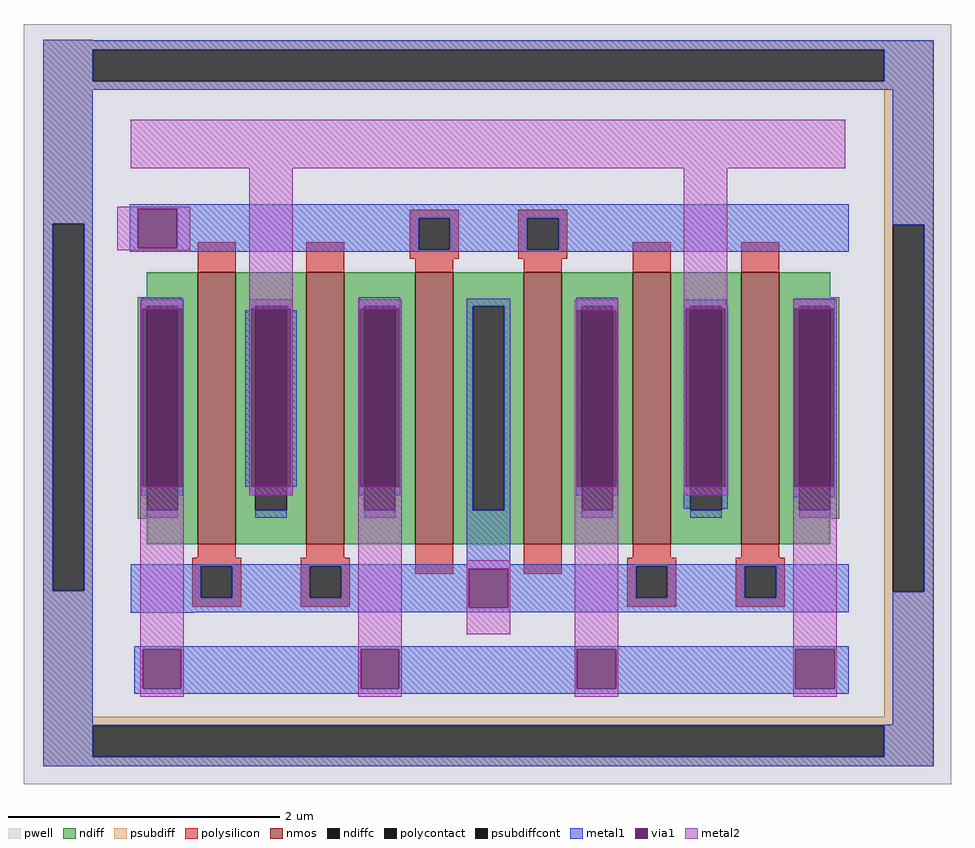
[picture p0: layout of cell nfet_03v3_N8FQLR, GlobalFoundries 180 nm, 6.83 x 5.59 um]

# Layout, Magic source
magic
tech gf180mcuD
magscale 1 10
<< pwell >>
rect -684 -553 681 565
<< nmos >>
rect -428 -200 -372 200
rect -268 -200 -212 200
rect -108 -200 -52 200
rect 52 -200 108 200
rect 212 -200 268 200
rect 372 -200 428 200
<< ndiff >>
rect -503 163 -428 200
rect -516 150 -428 163
rect -516 -150 -503 150
rect -457 -150 -428 150
rect -516 -163 -428 -150
rect -503 -200 -428 -163
rect -372 150 -268 200
rect -372 -150 -343 150
rect -297 -150 -268 150
rect -372 -200 -268 -150
rect -212 150 -108 200
rect -212 -150 -183 150
rect -137 -150 -108 150
rect -212 -200 -108 -150
rect -52 150 52 200
rect -52 -150 -23 150
rect 23 -150 52 150
rect -52 -200 52 -150
rect 108 150 212 200
rect 108 -150 137 150
rect 183 -150 212 150
rect 108 -200 212 -150
rect 268 150 372 200
rect 268 -150 297 150
rect 343 -150 372 150
rect 268 -200 372 -150
rect 428 163 503 200
rect 428 150 516 163
rect 428 -150 457 150
rect 503 -150 516 150
rect 428 -163 516 -150
rect 428 -200 503 -163
<< ndiffc >>
rect -503 -150 -457 150
rect -343 -150 -297 150
rect -183 -150 -137 150
rect -23 -150 23 150
rect 137 -150 183 150
rect 297 -150 343 150
rect 457 -150 503 150
<< psubdiff >>
rect -655 540 -582 542
rect -655 527 654 540
rect -655 481 -582 527
rect 582 481 654 527
rect -655 468 654 481
rect -655 271 -582 468
rect 582 461 654 468
rect 582 318 655 461
rect -655 -269 -641 271
rect -595 -269 -582 271
rect 582 270 654 318
rect -655 -454 -582 -269
rect 582 -270 595 270
rect 641 -270 654 270
rect 582 -454 654 -270
rect -655 -467 654 -454
rect -655 -513 -582 -467
rect 582 -513 654 -467
rect -655 -526 654 -513
rect -655 -527 -582 -526
<< psubdiffcont >>
rect -582 481 582 527
rect -641 -269 -595 271
rect 595 -270 641 270
rect -582 -513 582 -467
<< polysilicon >>
rect -116 279 -44 292
rect -428 200 -372 244
rect -268 200 -212 244
rect -116 233 -103 279
rect -57 233 -44 279
rect -116 220 -44 233
rect 44 279 116 292
rect 44 233 57 279
rect 103 233 116 279
rect 44 220 116 233
rect -108 200 -52 220
rect 52 200 108 220
rect 212 200 268 244
rect 372 200 428 244
rect -428 -220 -372 -200
rect -268 -220 -212 -200
rect -436 -233 -364 -220
rect -436 -279 -423 -233
rect -377 -279 -364 -233
rect -436 -292 -364 -279
rect -276 -233 -204 -220
rect -276 -279 -263 -233
rect -217 -279 -204 -233
rect -108 -244 -52 -200
rect 52 -244 108 -200
rect 212 -220 268 -200
rect 372 -220 428 -200
rect 204 -233 276 -220
rect -276 -292 -204 -279
rect 204 -279 217 -233
rect 263 -279 276 -233
rect 204 -292 276 -279
rect 364 -233 436 -220
rect 364 -279 377 -233
rect 423 -279 436 -233
rect 364 -292 436 -279
<< polycontact >>
rect -103 233 -57 279
rect 57 233 103 279
rect -423 -279 -377 -233
rect -263 -279 -217 -233
rect 217 -279 263 -233
rect 377 -279 423 -233
<< metal1 >>
rect -655 541 -582 542
rect -655 527 655 541
rect -655 481 -582 527
rect 582 481 655 527
rect -655 468 655 481
rect -655 271 -582 468
rect -655 -269 -641 271
rect -595 -269 -582 271
rect -528 293 530 300
rect -528 235 -516 293
rect -458 279 530 293
rect -458 235 -103 279
rect -528 233 -103 235
rect -57 233 57 279
rect 103 233 530 279
rect -528 230 530 233
rect 595 270 655 468
rect -511 150 -450 162
rect -511 146 -503 150
rect -457 146 -450 150
rect -511 -116 -509 146
rect -451 -116 -450 146
rect -352 150 -288 160
rect -352 146 -343 150
rect -297 146 -288 150
rect -352 144 -349 146
rect -358 -116 -349 144
rect -291 144 -288 146
rect -191 150 -130 163
rect -191 146 -183 150
rect -137 146 -130 150
rect -291 -116 -282 144
rect -191 -116 -189 146
rect -131 -116 -130 146
rect -511 -129 -503 -116
rect -457 -129 -450 -116
rect -352 -128 -343 -116
rect -503 -161 -457 -150
rect -297 -128 -288 -116
rect -191 -128 -183 -116
rect -343 -161 -297 -150
rect -137 -128 -130 -116
rect -32 150 32 161
rect -183 -161 -137 -150
rect -32 -150 -23 150
rect 23 -150 32 150
rect 129 150 190 162
rect 129 144 137 150
rect 183 144 190 150
rect 129 -116 130 144
rect 188 -116 190 144
rect 129 -129 137 -116
rect -32 -230 32 -150
rect 183 -129 190 -116
rect 287 150 350 159
rect 448 150 509 161
rect 287 146 297 150
rect 343 146 352 150
rect 287 -116 290 146
rect 348 -116 352 146
rect 287 -148 297 -116
rect 137 -161 183 -150
rect 343 -148 352 -116
rect 448 146 457 150
rect 503 146 509 150
rect 448 -116 450 146
rect 508 -116 509 146
rect 448 -131 457 -116
rect 297 -161 343 -150
rect 503 -131 509 -116
rect 457 -161 503 -150
rect -655 -466 -582 -269
rect -526 -233 530 -230
rect -526 -279 -423 -233
rect -377 -279 -263 -233
rect -217 -236 217 -233
rect -217 -279 -29 -236
rect -526 -294 -29 -279
rect 29 -279 217 -236
rect 263 -279 377 -233
rect 423 -279 530 -233
rect 29 -294 530 -279
rect -526 -300 530 -294
rect 641 -270 655 270
rect -526 -301 -432 -300
rect -521 -355 530 -350
rect -521 -413 -509 -355
rect -452 -413 -188 -355
rect -131 -413 130 -355
rect 188 -413 451 -355
rect 509 -413 530 -355
rect -521 -420 530 -413
rect 595 -466 655 -270
rect -655 -467 655 -466
rect -655 -513 -582 -467
rect 582 -513 655 -467
rect -655 -527 655 -513
<< via1 >>
rect -516 235 -458 293
rect -509 -116 -503 146
rect -503 -116 -457 146
rect -457 -116 -451 146
rect -349 -116 -343 146
rect -343 -116 -297 146
rect -297 -116 -291 146
rect -189 -116 -183 146
rect -183 -116 -137 146
rect -137 -116 -131 146
rect 130 -116 137 144
rect 137 -116 183 144
rect 183 -116 188 144
rect 290 -116 297 146
rect 297 -116 343 146
rect 343 -116 348 146
rect 450 -116 457 146
rect 457 -116 503 146
rect 503 -116 508 146
rect -29 -294 29 -236
rect -509 -413 -452 -355
rect -188 -413 -131 -355
rect 130 -413 188 -355
rect 451 -413 509 -355
<< metal2 >>
rect -526 353 525 424
rect -546 293 -439 296
rect -546 235 -516 293
rect -458 235 -439 293
rect -546 232 -439 235
rect -512 146 -448 159
rect -512 -116 -509 146
rect -451 -116 -448 146
rect -512 -355 -448 -116
rect -352 146 -288 353
rect -352 -116 -349 146
rect -291 -116 -288 146
rect -352 -128 -288 -116
rect -192 146 -128 159
rect -192 -116 -189 146
rect -131 -116 -128 146
rect -512 -413 -509 -355
rect -452 -413 -448 -355
rect -512 -425 -448 -413
rect -192 -355 -128 -116
rect 127 144 191 159
rect 127 -116 130 144
rect 188 -116 191 144
rect -32 -236 32 -224
rect -32 -294 -29 -236
rect 29 -294 32 -236
rect -32 -333 32 -294
rect -192 -413 -188 -355
rect -131 -413 -128 -355
rect -192 -425 -128 -413
rect 127 -355 191 -116
rect 287 146 351 353
rect 287 -116 290 146
rect 348 -116 351 146
rect 287 -128 351 -116
rect 448 146 512 160
rect 448 -116 450 146
rect 508 -116 512 146
rect 127 -413 130 -355
rect 188 -413 191 -355
rect 127 -425 191 -413
rect 448 -355 512 -116
rect 448 -413 451 -355
rect 509 -413 512 -355
rect 448 -425 512 -413
<< properties >>
string FIXED_BBOX -618 -350 618 350
string gencell nfet_03v3
string library gf180mcu
string nfet_03v3_N8FQLR parameters
string parameters w 2 l 0.280 m 1 nf 6 diffcov 80 polycov 100 guard 1 glc 1 grc 1 gtc 0 gbc 0 tbcov 100 rlcov 100 topc 1 botc 1 poverlap 0 doverlap 1 lmin 0.28 wmin 0.22 class mosfet full_metal 1 compatible {nfet_03v3 nfet_06v0 nfet_06v0_nvt}
<< end >>
